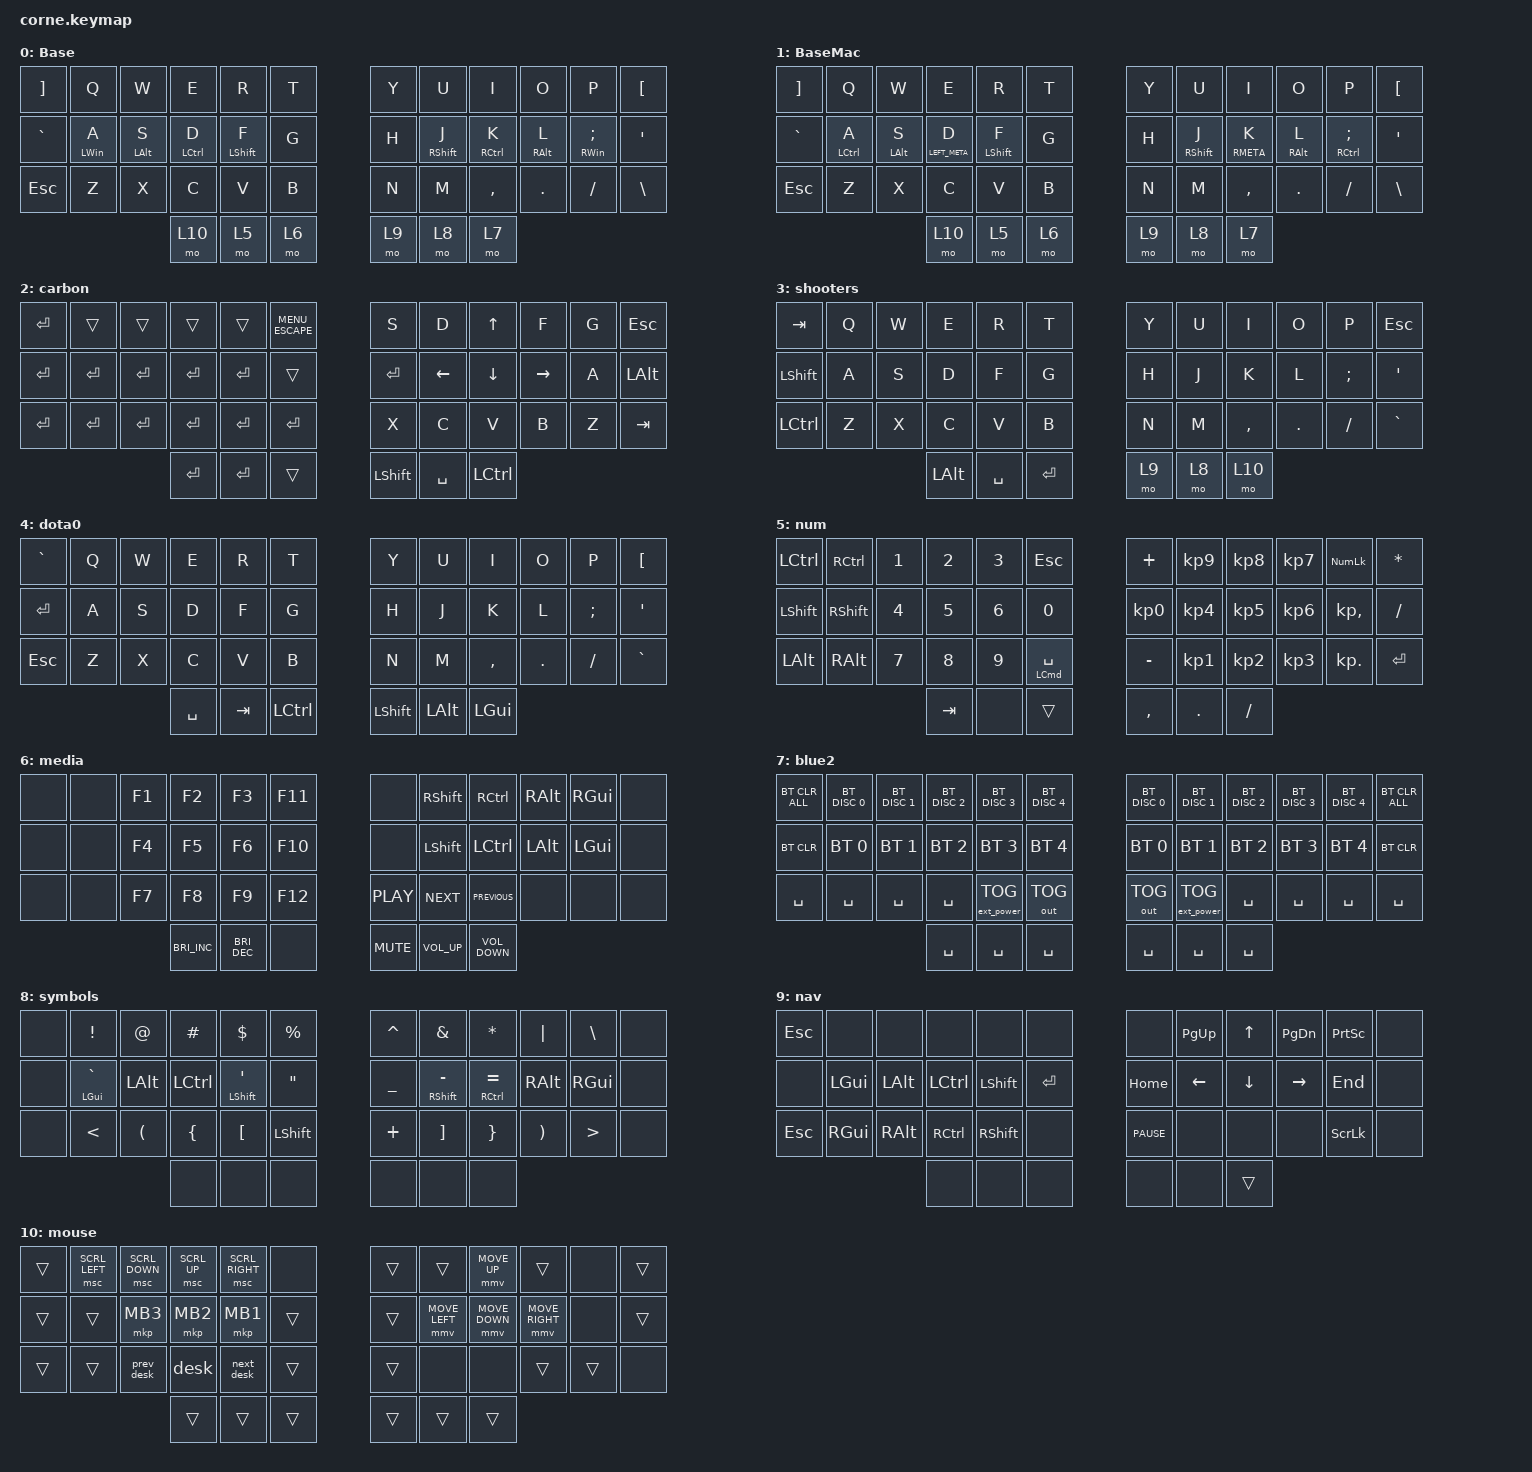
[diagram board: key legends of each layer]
/*
 * Copyright (c) 2020 The ZMK Contributors
 *
 * SPDX-License-Identifier: MIT
 */

#include "mouse.dtsi"
#include <input/processors.dtsi>
#include <dt-bindings/zmk/mouse.h>
#include <behaviors.dtsi>
#include <dt-bindings/zmk/bt.h>
#include <dt-bindings/zmk/ext_power.h>
#include <dt-bindings/zmk/keys.h>
#include <dt-bindings/zmk/outputs.h>
#include <dt-bindings/zmk/pointing.h>

#define BASE   0
#define LOWER  1
#define RAISE  2
#define ADJUST 3

&lt { quick_tap_ms = <220>; };

&msc_input_listener { input-processors = <&zip_temp_layer 2 2000>; };

&msc {
    trigger-period-ms = <12>;
    delay-ms = <15>;
    time-to-max-speed-ms = <600>;
    acceleration-exponent = <1>;
};

&mt { quick_tap_ms = <220>; };

/ {
    macros {
        numdot: numdot {
            compatible = "zmk,behavior-macro";
            #binding-cells = <0>;
            wait-ms = <40>;
            tap-ms = <40>;
            bindings =
                <&macro_press>,
                <&kp LALT>,
                <&macro_tap>,
                <&kp KP_N4 &kp KP_N6>,
                <&macro_release>,
                <&kp LALT>;
        };

        behaviors {
        };

        grtsgn: grtsgn {
            compatible = "zmk,behavior-macro";
            #binding-cells = <0>;
            wait-ms = <40>;
            tap-ms = <40>;
            bindings =
                <&macro_press>,
                <&kp LALT>,
                <&macro_tap>,
                <&kp KP_N6 &kp KP_N2>,
                <&macro_release>,
                <&kp LALT>;
        };

        cprght: cprght {
            compatible = "zmk,behavior-macro";
            #binding-cells = <0>;
            wait-ms = <40>;
            tap-ms = <40>;
            bindings =
                <&macro_press>,
                <&kp LALT>,
                <&macro_tap>,
                <&kp KP_N0 &kp KP_N1 &kp KP_N6 &kp KP_N9>,
                <&macro_release>,
                <&kp LALT>;
        };

        degree: degree {
            compatible = "zmk,behavior-macro";
            #binding-cells = <0>;
            wait-ms = <40>;
            tap-ms = <40>;
            bindings =
                <&macro_press>,
                <&kp LALT>,
                <&macro_tap>,
                <&kp KP_N0 &kp KP_N1 &kp KP_N7 &kp KP_N6>,
                <&macro_release>,
                <&kp LALT>;
        };

        quote: quote {
            compatible = "zmk,behavior-macro";
            #binding-cells = <0>;
            wait-ms = <40>;
            tap-ms = <40>;
            bindings =
                <&macro_press>,
                <&kp LALT>,
                <&macro_tap>,
                <&kp KP_N3 &kp KP_N4>,
                <&macro_release>,
                <&kp LALT>;
        };

        euro: euro {
            compatible = "zmk,behavior-macro";
            #binding-cells = <0>;
            wait-ms = <40>;
            tap-ms = <40>;
            bindings =
                <&macro_press>,
                <&kp LALT>,
                <&macro_tap>,
                <&kp KP_N0 &kp KP_N1 &kp KP_N2 &kp KP_N8>,
                <&macro_release>,
                <&kp LALT>;
        };

        numcomma: numcomma {
            compatible = "zmk,behavior-macro";
            #binding-cells = <0>;
            wait-ms = <40>;
            tap-ms = <40>;
            bindings =
                <&macro_press>,
                <&kp LALT>,
                <&macro_tap>,
                <&kp KP_N4 &kp KP_N4>,
                <&macro_release>,
                <&kp LALT>;
        };

        lguillement: lguillement {
            compatible = "zmk,behavior-macro";
            #binding-cells = <0>;
            wait-ms = <40>;
            tap-ms = <40>;
            bindings =
                <&macro_press>,
                <&kp LALT>,
                <&macro_tap>,
                <&kp KP_N0 &kp KP_N1 &kp KP_N7 &kp KP_N1>,
                <&macro_release>,
                <&kp LALT>;
        };

        rguillement: rguillement {
            compatible = "zmk,behavior-macro";
            #binding-cells = <0>;
            wait-ms = <40>;
            tap-ms = <40>;
            bindings =
                <&macro_press>,
                <&kp LALT>,
                <&macro_tap>,
                <&kp KP_N0 &kp KP_N1 &kp KP_N8 &kp KP_N7>,
                <&macro_release>,
                <&kp LALT>;
        };

        lbracket: lbracket {
            compatible = "zmk,behavior-macro";
            #binding-cells = <0>;
            wait-ms = <40>;
            tap-ms = <40>;
            bindings =
                <&macro_press>,
                <&kp LALT>,
                <&macro_tap>,
                <&kp KP_N1 &kp KP_N2 &kp KP_N3>,
                <&macro_release>,
                <&kp LALT>;
        };

        rbracket: rbracket {
            compatible = "zmk,behavior-macro";
            #binding-cells = <0>;
            wait-ms = <40>;
            tap-ms = <40>;
            bindings =
                <&macro_press>,
                <&kp LALT>,
                <&macro_tap>,
                <&kp KP_N1 &kp KP_N2 &kp KP_N5>,
                <&macro_release>,
                <&kp LALT>;
        };

        colon: colon {
            compatible = "zmk,behavior-macro";
            #binding-cells = <0>;
            wait-ms = <40>;
            tap-ms = <40>;
            bindings =
                <&macro_press>,
                <&kp LALT>,
                <&macro_tap>,
                <&kp KP_N5 &kp KP_N8>,
                <&macro_release>,
                <&kp LALT>;
        };

        semicolon: semicolon {
            compatible = "zmk,behavior-macro";
            #binding-cells = <0>;
            wait-ms = <40>;
            tap-ms = <40>;
            bindings =
                <&macro_press>,
                <&kp LALT>,
                <&macro_tap>,
                <&kp KP_N5 &kp KP_N9>,
                <&macro_release>,
                <&kp LALT>;
        };

        question: question {
            compatible = "zmk,behavior-macro";
            #binding-cells = <0>;
            wait-ms = <40>;
            tap-ms = <40>;
            bindings =
                <&macro_press>,
                <&kp LALT>,
                <&macro_tap>,
                <&kp KP_N6 &kp KP_N3>,
                <&macro_release>,
                <&kp LALT>;
        };

        lsqbracket: lsqbracket {
            compatible = "zmk,behavior-macro";
            #binding-cells = <0>;
            wait-ms = <40>;
            tap-ms = <40>;
            bindings =
                <&macro_press>,
                <&kp LALT>,
                <&macro_tap>,
                <&kp KP_N9 &kp KP_N1>,
                <&macro_release>,
                <&kp LALT>;
        };

        rsqbracket: rsqbracket {
            compatible = "zmk,behavior-macro";
            #binding-cells = <0>;
            wait-ms = <40>;
            tap-ms = <40>;
            bindings =
                <&macro_press>,
                <&kp LALT>,
                <&macro_tap>,
                <&kp KP_N9 &kp KP_N3>,
                <&macro_release>,
                <&kp LALT>;
        };

        lang: lang {
            compatible = "zmk,behavior-macro";
            #binding-cells = <0>;
            bindings =
                <&macro_press>,
                <&kp LEFT_WIN>,
                <&macro_tap>,
                <&kp SPACE>,
                <&macro_release>,
                <&kp LEFT_WIN>;
        };

        prev_desk: prev_desk {
            compatible = "zmk,behavior-macro";
            #binding-cells = <0>;
            bindings =
                <&macro_press>,
                <&kp LEFT_WIN &kp LCTRL>,
                <&macro_tap>,
                <&kp LEFT>,
                <&macro_release>,
                <&kp LEFT_WIN &kp LCTRL>;
        };

        next_desk: next_desk {
            compatible = "zmk,behavior-macro";
            #binding-cells = <0>;
            bindings =
                <&macro_press>,
                <&kp LEFT_WIN &kp LCTRL>,
                <&macro_tap>,
                <&kp RIGHT>,
                <&macro_release>,
                <&kp LEFT_WIN &kp LCTRL>;
        };

        desk: desk {
            compatible = "zmk,behavior-macro";
            #binding-cells = <0>;
            bindings =
                <&macro_press>,
                <&kp LEFT_WIN &kp TAB>,
                <&macro_release>,
                <&kp LEFT_WIN &kp TAB>;
        };

        block: block {
            compatible = "zmk,behavior-macro";
            #binding-cells = <0>;
            bindings =
                <&macro_press>,
                <&kp LEFT_WIN &kp L>,
                <&macro_release>,
                <&kp LEFT_WIN &kp L>;
        };

        scrnMac: scrnMac {
            compatible = "zmk,behavior-macro";
            #binding-cells = <0>;
            bindings =
                <&macro_press>,
                <&kp LEFT_COMMAND &kp LEFT_SHIFT &kp N5>,
                <&macro_release>,
                <&kp LEFT_COMMAND &kp LEFT_SHIFT &kp N5>;

            label = "SCRNMAC";
        };
    };
};

/ {
    combos {
        compatible = "zmk,combos";

        insert {
            bindings = <&kp INSERT>;
            key-positions = <28 29>;
        };

        caps {
            bindings = <&kp CAPSLOCK>;
            key-positions = <26 28>;
        };

        del {
            bindings = <&kp DELETE>;
            key-positions = <32 33>;
        };

        enter {
            bindings = <&kp ENTER>;
            key-positions = <8 9>;
        };

        tab {
            bindings = <&kp TAB>;
            key-positions = <4 3>;
        };

        space {
            bindings = <&kp SPACE>;
            key-positions = <2 3>;
        };

        bs {
            bindings = <&kp BACKSPACE>;
            key-positions = <31 32>;
        };

        lang {
            bindings = <&lang>;
            key-positions = <26 27>;
        };

        printscreen {
            bindings = <&kp PRINTSCREEN>;
            key-positions = <10 9>;
        };

        dota_shift {
            bindings = <&kp LEFT_SHIFT>;
            key-positions = <28 36>;
            layers = <8>;
        };

        dota_toggle {
            bindings = <&tog 0>;
            key-positions = <5 25>;
        };

        left {
            bindings = <&tog 9>;
            key-positions = <10 6>;
        };

        shooters_toogle {
            bindings = <&tog 3>;
            key-positions = <5 1>;
        };

        macOs {
            bindings = <&tog 1>;
            key-positions = <17 13>;
        };

        toBase {
            bindings = <&mo 5>;
            key-positions = <37 38>;
        };

        func {
            bindings = <&mo 6>;
            key-positions = <36 37>;
        };

        esc {
            bindings = <&kp ESC>;
            key-positions = <0 1>;
        };

        screenshotMac {
            bindings = <&scrnMac>;
            key-positions = <10 11>;
        };
    };
};

/ {
    keymap {
        compatible = "zmk,keymap";

        // ▄▄▄▄▄▄▄▄▄▄▄▄▄▄▄▄▄▄▄▄▄▄▄▄▄▄▄▄▄▄▄▄▄▄▄▄▄▄▄▄▄▄▄▄▄▄▄▄▄▄▄▄▄▄▄▄▄▄▄▄▄▄▄▄▄▄▄▄▄▄▄▄▄▄▄▄▄▄▄▄▄▄▄▄▄▄▄▄▄▄▄▄▄▄▄▄▄▄▄▄▄▄▄▄▄▄▄▄▄▄▄▄▄▄

        base_layer {
            // ┌────────────────────────────────────────────┐

            display-name = "Base";

            // └────────────────────────────────────────────┘
            /*
┌───────┬───────┬───────┬───────┬───────┬───────┐                   ┌───────┬───────┬───────┬───────┬───────┬───────┐
│ LGUI/]│   Q   │   W   │   E   │   R   │   T   │                   │   Y   │   U   │   I   │   O   │   P   │RGUI/[ │
├───────┼───────┼───────┼───────┼───────┼───────┤                   ├───────┼───────┼───────┼───────┼───────┼───────┤                      
│ CTRL/`│   A   │   S   │   D   │   F   │   G   │                   │   H   │   J   │   K   │   L   │   ;   │RCTRL/'│
├───────┼───────┼───────┼───────┼───────┼───────┤                   ├───────┼───────┼───────┼───────┼───────┼───────┤
│ LALT/\│   Z   │   X   │   C   │   V   │   B   │                   │   N   │   M   │   ,   │   .   │   /   │RALT/- │
└───────┴───────┴───────┴───────┼───────┼───────┼───────┐   ┌───────┼───────┼───────┼───────┴───────┴───────┴───────┘
                                │ RAISE │ SPACE │ LOWER │   │ LOWER │  BKSP │ RAISE │
                                └───────┴───────┴───────┘   └───────┴───────┴───────┘   
*/

            bindings = <
&kp RBKT   &kp Q           &kp W           &kp E        &kp R             &kp T    &kp Y  &kp U              &kp I        &kp O            &kp P                    &kp LEFT_BRACKET
&kp GRAVE  &mt LEFT_WIN A  &mt LEFT_ALT S  &mt LCTRL D  &mt LEFT_SHIFT F  &kp G    &kp H  &mt RIGHT_SHIFT J  &mt RCTRL K  &mt RIGHT_ALT L  &mt RIGHT_WIN SEMICOLON  &kp SQT
&kp ESC    &kp Z           &kp X           &kp C        &kp V             &kp B    &kp N  &kp M              &kp COMMA    &kp DOT          &kp FSLH                 &kp BSLH
                                           &mo 10       &mo 5             &mo 6    &mo 9  &mo 8              &mo 7
            >;
        };

        MacOS {
            display-name = "BaseMac";
            bindings = <
&kp RBKT   &kp Q        &kp W           &kp E            &kp R             &kp T    &kp Y  &kp U              &kp I        &kp O            &kp P                &kp LEFT_BRACKET
&kp GRAVE  &mt LCTRL A  &mt LEFT_ALT S  &mt LEFT_META D  &mt LEFT_SHIFT F  &kp G    &kp H  &mt RIGHT_SHIFT J  &mt RMETA K  &mt RIGHT_ALT L  &mt RCTRL SEMICOLON  &kp SQT
&kp ESC    &kp Z        &kp X           &kp C            &kp V             &kp B    &kp N  &kp M              &kp COMMA    &kp DOT          &kp FSLH             &kp BSLH
                                        &mo 10           &mo 5             &mo 6    &mo 9  &mo 8              &mo 7
            >;
        };

        carbon {
            bindings = <
&kp ENTER  &trans     &trans     &trans     &trans     &kp C_MENU_ESCAPE    &kp S      &kp D      &kp UP     &kp F      &kp G  &kp ESCAPE
&kp ENTER  &kp ENTER  &kp ENTER  &kp ENTER  &kp RET    &trans               &kp RET    &kp LEFT   &kp DOWN   &kp RIGHT  &kp A  &kp LALT
&kp ENTER  &kp ENTER  &kp ENTER  &kp ENTER  &kp ENTER  &kp ENTER            &kp X      &kp C      &kp V      &kp B      &kp Z  &kp TAB
                                 &kp ENTER  &kp ENTER  &trans               &kp LSHFT  &kp SPACE  &kp LCTRL
            >;

            display-name = "carbon";
        };

        shooters {
            bindings = <
&kp TAB    &kp Q  &kp W  &kp E     &kp R      &kp T      &kp Y  &kp U  &kp I      &kp O    &kp P     &kp ESC
&kp LSHFT  &kp A  &kp S  &kp D     &kp F      &kp G      &kp H  &kp J  &kp K      &kp L    &kp SEMI  &kp APOS
&kp LCTRL  &kp Z  &kp X  &kp C     &kp V      &kp B      &kp N  &kp M  &kp COMMA  &kp DOT  &kp FSLH  &kp GRAVE
                         &kp LALT  &kp SPACE  &kp RET    &mo 9  &mo 8  &mo 10
            >;

            display-name = "shooters";
        };

        dota0 {
            bindings = <
&kp GRAVE  &kp Q  &kp W  &kp E      &kp R    &kp T        &kp Y      &kp U     &kp I      &kp O    &kp P     &kp LBKT
&kp RET    &kp A  &kp S  &kp D      &kp F    &kp G        &kp H      &kp J     &kp K      &kp L    &kp SEMI  &kp SQT
&kp ESC    &kp Z  &kp X  &kp C      &kp V    &kp B        &kp N      &kp M     &kp COMMA  &kp DOT  &kp FSLH  &kp GRAVE
                         &kp SPACE  &kp TAB  &kp LCTRL    &kp LSHFT  &kp LALT  &kp LGUI
            >;
        };

        num_layer {
            // ┌────────────────────────────────────────────┐

            display-name = "num";

            // └────────────────────────────────────────────┘
            /*
┌───────┬───────┬───────┬───────┬───────┬───────┐                   ┌───────┬───────┬───────┬───────┬───────┬───────┐
│ CAPS  │  F10  │  F9   │  F8   │  F7   │   ~   │                   │   !   │   @   │   #   │   $   │   %   │ RGUI  │
├───────┼───────┼───────┼───────┼───────┼───────┤                   ├───────┼───────┼───────┼───────┼───────┼───────┤                      
│ CTRL  │  F11  │  F3   │  F2   │  F1   │ MENU  │                   │   :   │   ?   │   *   │   (   │   )   │   &   │
├───────┼───────┼───────┼───────┼───────┼───────┤                   ├───────┼───────┼───────┼───────┼───────┼───────┤
│ LALT  │  F12  │  F6   │  F5   │  F4   │ LANG  │                   │   "   │   «   │   »   │   {   │   }   │   ^   │
└───────┴───────┴───────┴───────┼───────┼───────┼───────┐   ┌───────┼───────┼───────┼───────┴───────┴───────┴───────┘
                                │  ADJ  │ LSHFT │   ▼   │   │   ▼   │ RSHFT │  ADJ  │
                                └───────┴───────┴───────┘   └───────┴───────┴───────┘   
*/

            bindings = <
&kp LCTRL  &kp RCTRL  &kp NUMBER_1  &kp NUMBER_2  &kp NUMBER_3  &kp ESCAPE                &kp PLUS         &kp KP_NUMBER_9  &kp KP_N8        &kp KP_N7        &kp KP_NUMLOCK  &kp STAR
&kp LSHFT  &kp RSHFT  &kp NUMBER_4  &kp NUMBER_5  &kp NUMBER_6  &kp NUMBER_0              &kp KP_NUMBER_0  &kp KP_NUMBER_4  &kp KP_N5        &kp KP_NUMBER_6  &kp KP_COMMA    &kp FSLH
&kp LALT   &kp RALT   &kp NUMBER_7  &kp NUMBER_8  &kp NUMBER_9  &mt LEFT_COMMAND SPACE    &kp MINUS        &kp KP_NUMBER_1  &kp KP_NUMBER_2  &kp KP_NUMBER_3  &kp KP_DOT      &kp RET
                                    &kp TAB       &none         &trans                    &kp COMMA        &kp DOT          &kp FSLH
            >;
        };

        media {
            // ┌────────────────────────────────────────────┐

            display-name = "media";

            // └────────────────────────────────────────────┘
            /*
┌───────┬───────┬───────┬───────┬───────┬───────┐                   ┌───────┬───────┬───────┬───────┬───────┬───────┐
│ BKSP  │   *   │   9   │   8   │   7   │   +   │                   │ NEXT  │ HOME  │ PSCRN │ PGUP  │ VOLU  │ RGUI  │
├───────┼───────┼───────┼───────┼───────┼───────┤                   ├───────┼───────┼───────┼───────┼───────┼───────┤                      
│ CTRL  │   /   │   3   │   2   │   1   │   0   │                   │ PLAY  │   ←   │   ↑   │   →   │ VOLD  │ CTRL  │
├───────┼───────┼───────┼───────┼───────┼───────┤                   ├───────┼───────┼───────┼───────┼───────┼───────┤
│ ALT/= │   .   │   6   │   5   │   4   │   -   │                   │ PREV  │  END  │   ↓   │ PGDN  │ MUTE  │ RALT  │
└───────┴───────┴───────┴───────┼───────┼───────┼───────┐   ┌───────┼───────┼───────┼───────┴───────┴───────┴───────┘
                                │   ▲   │ LSHFT │  ADJ  │   │  ADJ  │ RSHFT │   ▲   │
                                └───────┴───────┴───────┘   └───────┴───────┴───────┘  
*/

            bindings = <
&none  &none  &kp F1  &kp F2                &kp F3                &kp F11    &none       &kp RSHFT        &kp RCTRL          &kp RALT  &kp RGUI  &none
&none  &none  &kp F4  &kp F5                &kp F6                &kp F10    &none       &kp LSHFT        &kp LCTRL          &kp LALT  &kp LGUI  &none
&none  &none  &kp F7  &kp F8                &kp F9                &kp F12    &kp C_PLAY  &kp C_NEXT       &kp C_PREVIOUS     &none     &none     &none
                      &kp C_BRIGHTNESS_INC  &kp C_BRIGHTNESS_DEC  &none      &kp K_MUTE  &kp C_VOLUME_UP  &kp C_VOLUME_DOWN
            >;
        };

        adjust_layer {
            // ┌────────────────────────────────────────────┐

            display-name = "blue2";

            // └────────────────────────────────────────────┘
            /*
┌───────┬───────┬───────┬───────┬───────┬───────┐                   ┌───────┬───────┬───────┬───────┬───────┬───────┐
│ BLDR  │       │       │       │       │BT NEXT│                   │BT NEXT│   ₽   │   €   │       │       │  BLDR │
├───────┼───────┼───────┼───────┼───────┼───────┤                   ├───────┼───────┼───────┼───────┼───────┼───────┤                      
│ BTCLR │  BT0  │  BT1  │  BT2  │  BT3  │  BT4  │                   │  BT4  │  BT3  │  BT2  │  BT1  │  BT0  │ BTCLR │
├───────┼───────┼───────┼───────┼───────┼───────┤                   ├───────┼───────┼───────┼───────┼───────┼───────┤
│ CAPS  │ NUMLK │  INS  │ SLCK  │ PAUSE │BT PREV│                   │BT PREV│ PAUSE │ SLCK  │  INS  │ NUMLK │ CAPS  │
└───────┴───────┴───────┴───────┼───────┼───────┼───────┐   ┌───────┼───────┼───────┼───────┴───────┴───────┴───────┘
                                │   ▲   │ POWER │   ▼   │   │   ▼   │ POWER │   ▲   │
                                └───────┴───────┴───────┘   └───────┴───────┴───────┘
*/

            bindings = <
&bt BT_CLR_ALL  &bt BT_DISC 0  &bt BT_DISC 1  &bt BT_DISC 2  &bt BT_DISC 3      &bt BT_DISC 4    &bt BT_DISC 0  &bt BT_DISC 1      &bt BT_DISC 2  &bt BT_DISC 3  &bt BT_DISC 4  &bt BT_CLR_ALL
&bt BT_CLR      &bt BT_SEL 0   &bt BT_SEL 1   &bt BT_SEL 2   &bt BT_SEL 3       &bt BT_SEL 4     &bt BT_SEL 0   &bt BT_SEL 1       &bt BT_SEL 2   &bt BT_SEL 3   &bt BT_SEL 4   &bt BT_CLR
&kp SPACE       &kp SPACE      &kp SPACE      &kp SPACE      &ext_power EP_TOG  &out OUT_TOG     &out OUT_TOG   &ext_power EP_TOG  &kp SPACE      &kp SPACE      &kp SPACE      &kp SPACE
                                              &kp SPACE      &kp SPACE          &kp SPACE        &kp SPACE      &kp SPACE          &kp SPACE
            >;
        };

        sym_layer {
            bindings = <
&none  &kp EXCL        &kp AT                &kp HASH        &kp DLLR                &kp PRCNT            &kp CARET  &kp AMPS           &kp STAR         &kp PIPE               &kp BACKSLASH  &none
&none  &mt LGUI GRAVE  &kp LALT              &kp LCTRL       &mt LSHFT SINGLE_QUOTE  &kp DOUBLE_QUOTES    &kp UNDER  &mt RSHFT MINUS    &mt RCTRL EQUAL  &kp RALT               &kp RGUI       &none
&none  &kp LT          &kp LEFT_PARENTHESIS  &kp LEFT_BRACE  &kp LEFT_BRACKET        &kp LSHFT            &kp PLUS   &kp RIGHT_BRACKET  &kp RIGHT_BRACE  &kp RIGHT_PARENTHESIS  &kp GT         &none
                                             &none           &none                   &none                &none      &none              &none
            >;

            display-name = "symbols";
        };

        nav {
            display-name = "nav";
            bindings = <
&kp ESCAPE  &none     &none     &none      &none      &none        &none        &kp PG_UP  &kp UP_ARROW    &kp PG_DN  &kp PRINTSCREEN  &none
&none       &kp LGUI  &kp LALT  &kp LCTRL  &kp LSHFT  &kp ENTER    &kp HOME     &kp LEFT   &kp DOWN_ARROW  &kp RIGHT  &kp END          &none
&kp ESCAPE  &kp RGUI  &kp RALT  &kp RCTRL  &kp RSHFT  &none        &kp C_PAUSE  &none      &none           &none      &kp SCROLLLOCK   &none
                                &none      &none      &none        &none        &none      &trans
            >;
        };

        mouse {
            bindings = <
&trans  &msc SCRL_LEFT  &msc SCRL_DOWN  &msc SCRL_UP  &msc SCRL_RIGHT  &none     &trans  &trans          &mmv MOVE_UP    &trans           &none   &trans
&trans  &trans          &mkp MB3        &mkp MB2      &mkp MB1         &trans    &trans  &mmv MOVE_LEFT  &mmv MOVE_DOWN  &mmv MOVE_RIGHT  &none   &trans
&trans  &trans          &prev_desk      &desk         &next_desk       &trans    &trans  &none           &none           &trans           &trans  &none
                                        &trans        &trans           &trans    &trans  &trans          &trans
            >;

            display-name = "mouse";
        };
    };
};
